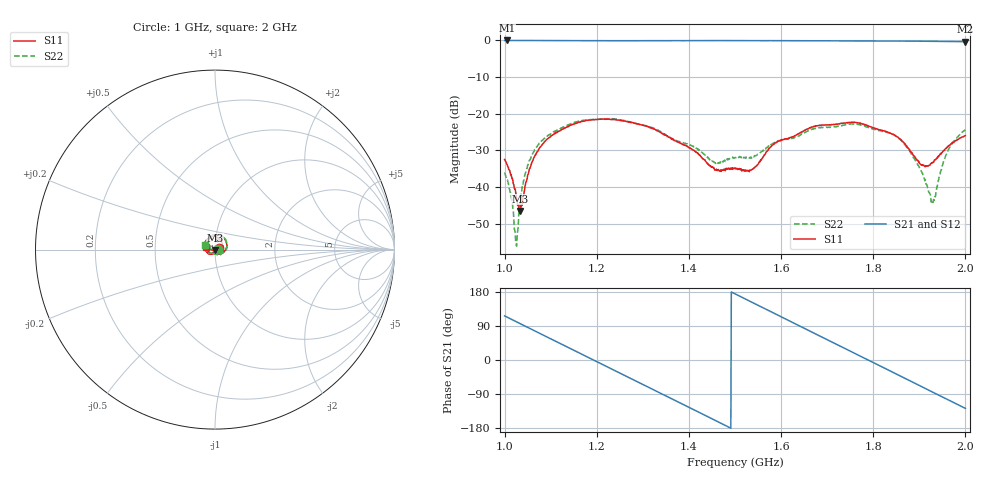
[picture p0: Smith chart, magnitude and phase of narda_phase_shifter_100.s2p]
#  HZ  S  DB  R  50.00
! Rohde & Schwarz Vector Network Analyzer
! Rohde-Schwarz,ZNB8-4Port,1311601044102961,2.82
! Created: UTC 3/4/2022, 4:06:22 PM
! freq[Hz]  db:S11  ang:S11  db:S21  ang:S21  db:S12  ang:S12  db:S22  ang:S22
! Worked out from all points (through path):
!   1001 points, 1 GHz to 2 GHz, reference 50 ohm
!   highest |S21| = -0.18 dB at 1.005 GHz (marker M1); lowest = -0.5 dB at 2 GHz (marker M2)
!   group delay of S21, straight-line fit = 1.68 ns
!   lowest |S11| = -46.4 dB at 1.034 GHz (marker M3), VSWR 1.01, Z = 50 - j0.479 ohm
!   |S11| at or under -10 dB: start of sweep to end of sweep
!   |S22| runs from -55.9 to -21.4 dB; largest |S21 - S12| = 0.0033
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1e9  -32.43 15.5  -0.19 116.4  -0.17 116.4  -35.97 17.7
1.005e9  -33.65 11.9  -0.18 113.4  -0.18 113.3  -37.99 10.8
1.025e9  -42.21 -22.1  -0.19 101.3  -0.18 101.3  -55.17 -87.5
1.034e9  -46.39 -91.9  -0.19 95.8  -0.18 95.8  -43.61 -171.8
1.048e9  -38.08 -158.0  -0.20 87.3  -0.18 87.3  -34.89 171.9
1.072e9  -30.21 168.4  -0.20 72.8  -0.19 72.9  -28.58 159.9
1.167e9  -22.15 102.7  -0.24 15.6  -0.23 15.5  -21.89 102.1
1.242e9  -21.63 56.8  -0.25 -29.6  -0.25 -29.5  -21.51 53.8
1.334e9  -24.81 -3.6  -0.24 -85.0  -0.24 -85.0  -24.56 -5.1
1.407e9  -29.70 -46.7  -0.22 -129.0  -0.23 -129.0  -28.76 -58.1
1.459e9  -35.37 -80.4  -0.22 -160.5  -0.21 -160.5  -33.36 -85.8
1.5e9  -34.86 -93.4  -0.22 174.6  -0.22 174.7  -31.90 -105.5
1.536e9  -35.24 -114.0  -0.24 152.9  -0.24 152.8  -32.04 -126.7
1.591e9  -27.69 -142.3  -0.24 119.6  -0.23 119.6  -27.65 -152.5
1.667e9  -23.63 164.6  -0.27 73.6  -0.26 73.6  -24.24 169.4
1.754e9  -22.31 103.2  -0.31 21.0  -0.30 21.1  -22.78 124.1
1.834e9  -25.14 44.3  -0.34 -27.3  -0.33 -27.2  -25.20 81.6
1.881e9  -30.37 -0.7  -0.36 -55.7  -0.35 -55.7  -30.63 59.6
1.908e9  -34.01 -47.4  -0.39 -72.0  -0.37 -72.1  -36.73 49.5
1.93e9  -33.17 -98.2  -0.40 -85.4  -0.40 -85.4  -44.08 105.9
1.961e9  -28.96 -156.1  -0.44 -104.2  -0.43 -104.2  -30.41 165.3
2e9  -25.98 164.4  -0.51 -127.7  -0.50 -127.7  -24.40 152.0
